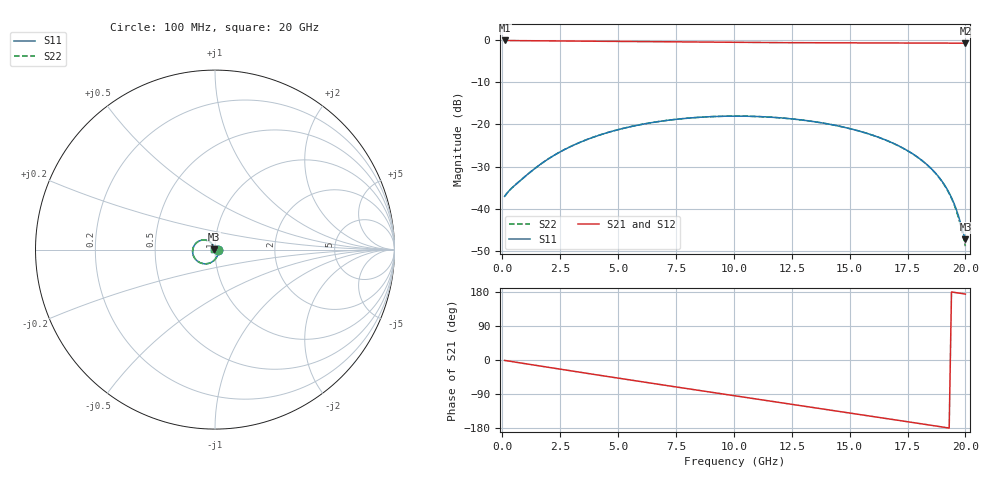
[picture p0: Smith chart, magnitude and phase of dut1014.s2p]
! Touchstone file exported from HFSS 2026.1.0
!  File:  C:/ffzhzh/LocalFiles/Ansys_Project_Files/temp_train_TSV_RDL_1014_1783291797_5512.aedt
!  Generated:  06:55:36 AM Jul  6, 2026
!  Design:  TSV_RDL
!  Project:  temp_train_TSV_RDL_1014_1783291797_5512
! Variables:
!  h_bsmrdl = 2.13um
!  h_ox = 20um
!  h_rdl = 5um
!  h_sub = 55.8um
!  h_tmrdl = 4.7um
!  h_tsv = 55.8um
!  h_via = 3um
!  l_bsmrdl = 211.63um
!  l_sub = 2808.34um
!  l_tmrdl = 414.06um
!  m_sub = 200um
!  pitch = 29.19um
!  r_tsv = 13.5um
!  s_tmrdl = 10um
!  w_bsmrdl = 13.78um
!  w_sub = 500um
!  w_tmrdl = 25.29um
!  x_tsv_center1 = 426.705um
!  x_tsv_center2 = 652.115um
!  x_tsv_center3 = 1091.465um
!  x_tsv_center4 = 1316.875um
!  x_tsv_center5 = 1756.225um
!  x_tsv_center6 = 1981.635um
# GHz S MA R 50.000000
! Terminal data exported
! Port[1] = TM_RDL1_1_T1
! Port[2] = TM_RDL5_1_T1
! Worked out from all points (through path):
!   200 points, 100 MHz to 20 GHz, reference 50 ohm
!   highest |S21| = -0.12 dB at 100 MHz (marker M1); lowest = -0.8 dB at 20 GHz (marker M2)
!   group delay of S21, straight-line fit = 25.7 ps
!   lowest |S11| = -47.2 dB at 20 GHz (marker M3), VSWR 1.01, Z = 49.6 + j0.108 ohm
!   |S11| at or under -10 dB: start of sweep to end of sweep
!   |S22| runs from -48.8 to -18.0 dB; largest |S21 - S12| = 4.4e-13
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0.1  0.01411 -0.2  0.9859 -1.1  0.9859 -1.1  0.01411 -0.2
! Gamma 0 0 0 0
! Port Impedance 50 0 50 0
0.5  0.01864 -20.7  0.9821 -5.0  0.9821 -5.0  0.01864 -20.7
1.7  0.03462 -65.8  0.9767 -16.6  0.9767 -16.6  0.03463 -65.8
2.5  0.04746 -82.4  0.9732 -24.2  0.9732 -24.2  0.04746 -82.4
3.5  0.06385 -97.9  0.9684 -33.7  0.9684 -33.7  0.06386 -97.9
4.3  0.0765 -108.3  0.9642 -41.2  0.9642 -41.2  0.07651 -108.3
5.2  0.08966 -119.1  0.9593 -49.7  0.9593 -49.7  0.08967 -119.1
6.8  0.1088 -136.8  0.9506 -64.6  0.9506 -64.6  0.1088 -136.8
8.4  0.1211 -153.3  0.9426 -79.4  0.9426 -79.4  0.1211 -153.3
10.1  0.1255 -170.2  0.9354 -95.0  0.9354 -95.0  0.1255 -170.2
11.7  0.1214 174.5  0.93 -109.6  0.93 -109.6  0.1214 174.4
13.4  0.1086 158.5  0.9258 -125.1  0.9258 -125.1  0.1086 158.4
15.2  0.08668 142.1  0.9228 -141.6  0.9228 -141.6  0.08664 141.9
16.7  0.06305 129.1  0.9208 -155.5  0.9208 -155.5  0.063 128.7
17.4  0.0508 123.4  0.9199 -161.9  0.9199 -161.9  0.05073 122.9
18  0.03985 119.1  0.9191 -167.5  0.9191 -167.5  0.03976 118.3
18.5  0.03052 116.3  0.9183 -172.1  0.9183 -172.1  0.0304 115.2
18.9  0.02298 115.1  0.9177 -175.8  0.9177 -175.8  0.02283 113.5
19.2  0.01734 115.7  0.9172 -178.6  0.9172 -178.6  0.01715 113.6
19.5  0.01181 119.6  0.9167 178.6  0.9167 178.6  0.01153 116.4
19.7  0.008302 127.1  0.9163 176.7  0.9163 176.7  0.007916 122.7
20  0.004367 165.5  0.9158 173.9  0.9158 173.9  0.003634 162.5
